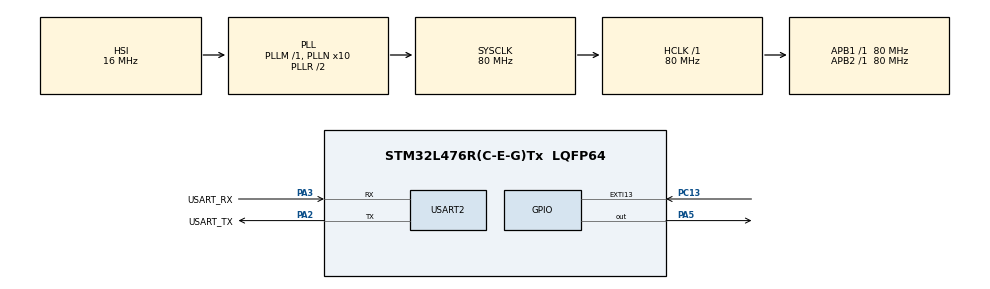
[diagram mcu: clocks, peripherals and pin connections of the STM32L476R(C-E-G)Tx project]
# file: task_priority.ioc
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FREERTOS.Tasks01=defaultTask,0,128,StartDefaultTask,Default,NULL,Dynamic,NULL,NULL
Mcu.Family=STM32L4
Mcu.Name=STM32L476R(C-E-G)Tx
Mcu.Package=LQFP64
NVIC.EXTI15_10_IRQn=true\:5\:0\:false\:false\:true\:true\:true\:true\:true
NVIC.PriorityGroup=NVIC_PRIORITYGROUP_4
PA13\ (JTMS-SWDIO).GPIO_Label=TMS
PA13\ (JTMS-SWDIO).Mode=Serial_Wire
PA13\ (JTMS-SWDIO).Signal=SYS_JTMS-SWDIO
PA14\ (JTCK-SWCLK).GPIO_Label=TCK
PA14\ (JTCK-SWCLK).Mode=Serial_Wire
PA14\ (JTCK-SWCLK).Signal=SYS_JTCK-SWCLK
PA2.GPIO_Label=USART_TX
PA2.GPIO_Mode=GPIO_MODE_AF_PP
PA2.GPIO_PuPd=GPIO_NOPULL
PA2.GPIO_Speed=GPIO_SPEED_FREQ_VERY_HIGH
PA2.Mode=Asynchronous
PA2.Signal=USART2_TX
PA3.GPIO_Label=USART_RX
PA3.GPIO_Mode=GPIO_MODE_AF_PP
PA3.GPIO_PuPd=GPIO_NOPULL
PA3.GPIO_Speed=GPIO_SPEED_FREQ_VERY_HIGH
PA3.Mode=Asynchronous
PA3.Signal=USART2_RX
PA5.Signal=GPIO_Output
PB3\ (JTDO-TRACESWO).GPIO_Label=SWO
PB3\ (JTDO-TRACESWO).Signal=SYS_JTDO-SWO
PC13.Signal=GPXTI13
PC14-OSC32_IN\ (PC14).Mode=LSE-External-Oscillator
PC14-OSC32_IN\ (PC14).Signal=RCC_OSC32_IN
PC15-OSC32_OUT\ (PC15).Mode=LSE-External-Oscillator
PC15-OSC32_OUT\ (PC15).Signal=RCC_OSC32_OUT
PH0-OSC_IN\ (PH0).Signal=RCC_OSC_IN
PH1-OSC_OUT\ (PH1).Signal=RCC_OSC_OUT
ProjectManager.HeapSize=0x200
ProjectManager.StackSize=0x400
ProjectManager.TargetToolchain=STM32CubeIDE
RCC.ADCFreq_Value=64000000
RCC.AHBFreq_Value=80000000
RCC.APB1Freq_Value=80000000
RCC.APB1TimFreq_Value=80000000
RCC.APB2Freq_Value=80000000
RCC.APB2TimFreq_Value=80000000
RCC.CortexFreq_Value=80000000
RCC.HCLKFreq_Value=80000000
RCC.HSE_VALUE=8000000
RCC.HSI_VALUE=16000000
RCC.MSI_VALUE=4000000
RCC.PLLN=10
RCC.PLLSourceVirtual=RCC_PLLSOURCE_HSI
RCC.PREFETCH_ENABLE=1
RCC.SYSCLKFreq_VALUE=80000000
RCC.SYSCLKSource=RCC_SYSCLKSOURCE_PLLCLK
RCC.USBFreq_Value=64000000
RCC.VCOOutputFreq_Value=160000000
USART2.VirtualMode-Asynchronous=VM_ASYNC
VP_FREERTOS_VS_CMSIS_V1.Mode=CMSIS_V1
board=NUCLEO-L476RG

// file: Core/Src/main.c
/* USER CODE BEGIN Header */
/**
  ******************************************************************************
  * @file           : main.c
  * @brief          : Main program body
  ******************************************************************************
  * @attention
  *
  * Copyright (c) 2025 STMicroelectronics.
  * All rights reserved.
  *
  * This software is licensed under terms that can be found in the LICENSE file
  * in the root directory of this software component.
  * If no LICENSE file comes with this software, it is provided AS-IS.
  *
  ******************************************************************************
  */
/* USER CODE END Header */
#include "main.h"
#include "cmsis_os.h"

/* USER CODE BEGIN Includes */
#include<string.h>
#include<stdio.h>
/* USER CODE END Includes */

/* USER CODE BEGIN PD */
//macros to indicate about switch status
#define FALSE	0
#define TRUE	1
/* USER CODE END PD */

UART_HandleTypeDef huart2; //handle for USART2 configuration

osThreadId defaultTaskHandle;//default task handle
/* USER CODE BEGIN PV */
TaskHandle_t xTaskHandle1=NULL;  // handle for task1
TaskHandle_t xTaskHandle2=NULL; //handle for task2
uint8_t priority_switch = FALSE; // variable to track switch status
char msg[50]; //buffer to store content for formatting and trnsmit via uart
/* USER CODE END PV */

void SystemClock_Config(void);
static void MX_GPIO_Init(void);
static void MX_USART2_UART_Init(void);
void StartDefaultTask(void const * argument);

/* USER CODE BEGIN 0 */
// Interrupt handler for external pin (e.g., button on pin 13)
void EXTI15_10_IRQHandler(void)
{
  /* USER CODE BEGIN EXTI15_10_IRQn 0 */

  /* USER CODE END EXTI15_10_IRQn 0 */
  HAL_GPIO_EXTI_IRQHandler(GPIO_PIN_13);// Handle EXTI interrupt for pin 13
  priority_switch = TRUE; // Set flag to change priorities
  /* USER CODE BEGIN EXTI15_10_IRQn 1 */

  /* USER CODE END EXTI15_10_IRQn 1 */
}
// Send a string message via UART2
void uart_msg(char *s)
{
	HAL_UART_Transmit(&huart2, (uint8_t*)s, strlen(s), 1000); // Send string
}

// Simple delay function using RTOS tick count
void rtos_delay(uint32_t delay_in_ms)
{
	uint32_t tick_count_local=0;

	// Convert milliseconds to ticks
	uint32_t delay_in_ticks = ( delay_in_ms  * configTICK_RATE_HZ ) / 1000;

	tick_count_local = xTaskGetTickCount(); // Get current tick
	while ( xTaskGetTickCount() < (tick_count_local+delay_in_ticks )); // Wait
}

// -------- TASK-1 CODE --------
void task1(void  * p)
{
	UBaseType_t p1,p2; // To store priority values

	uart_msg("TASK-1 RUNNING\r\n");
	sprintf(msg,"TASK-1 priority value %ld\r\n",uxTaskPriorityGet(xTaskHandle1));
	uart_msg(msg);
	sprintf(msg,"TASK-2 priority value %ld\r\n",uxTaskPriorityGet(xTaskHandle2));
	uart_msg(msg);

	while(1)
	{
		if(priority_switch)  // If button pressed
		{
			priority_switch = FALSE;
			uart_msg("priority_swicth by task-1\r\n");

			// Get priorities of both tasks
			p1=uxTaskPriorityGet(xTaskHandle1);
			p2=uxTaskPriorityGet(xTaskHandle2);

			// Swap priorities of task1 and task2
			vTaskPrioritySet(xTaskHandle1, p2);
			vTaskPrioritySet(xTaskHandle2, p1);
		}
		else
		{
			HAL_GPIO_TogglePin(GPIOA, GPIO_PIN_5); // Toggle LED
			rtos_delay(200);                       // Small delay
		}
	}
}

// -------- TASK-2 CODE --------
void task2(void  * p)
{
	UBaseType_t p1,p2; // To store priority values

	uart_msg("TASK-2 RUNNING\r\n");
	sprintf(msg,"TASK-1 priority value %ld\r\n",uxTaskPriorityGet(xTaskHandle1));
	uart_msg(msg);
	sprintf(msg,"TASK-2 priority value %ld\r\n",uxTaskPriorityGet(xTaskHandle2));
	uart_msg(msg);

	while(1)
	{
		if(priority_switch) // If button pressed
		{
			priority_switch = FALSE;
			uart_msg("priority_swicth by task-2\r\n");

			// Get priorities of both tasks
			p1=uxTaskPriorityGet(xTaskHandle1);
			p2=uxTaskPriorityGet(xTaskHandle2);

			// Swap priorities of task1 and task2
			vTaskPrioritySet(xTaskHandle1, p2);
			vTaskPrioritySet(xTaskHandle2, p1);
		}
		else
		{
			HAL_GPIO_TogglePin(GPIOA, GPIO_PIN_5); // Toggle LED
			rtos_delay(1000);                      // Bigger delay
		}
	}
}
/* USER CODE END 0 */

int main(void)
{

  /* MCU Configuration--------------------------------------------------------*/

  /* Reset of all peripherals, Initializes the Flash interface and the Systick. */
  HAL_Init();

  /* Configure the system clock */
  SystemClock_Config();

  /* Initialize all configured peripherals */
  MX_GPIO_Init();
  MX_USART2_UART_Init();

  /* Create the thread(s) */
  /* definition and creation of defaultTask */
  osThreadDef(defaultTask, StartDefaultTask, osPriorityNormal, 0, 128);
  defaultTaskHandle = osThreadCreate(osThread(defaultTask), NULL);

  /* USER CODE BEGIN RTOS_THREADS */
  xTaskCreate(task1, "TASK1", configMINIMAL_STACK_SIZE, NULL, 1, &xTaskHandle1);//task 1 created with priority 1
  xTaskCreate(task2, "TASK2", configMINIMAL_STACK_SIZE, NULL, 2, &xTaskHandle2);//task2 created with priority 2
  /* USER CODE END RTOS_THREADS */

  /* Start scheduler */
  osKernelStart();

  /* We should never get here as control is now taken by the scheduler */

  /* Infinite loop */
  while (1)
  {

  }
}

void SystemClock_Config(void)
{
  RCC_OscInitTypeDef RCC_OscInitStruct = {0};
  RCC_ClkInitTypeDef RCC_ClkInitStruct = {0};

  /** Configure the main internal regulator output voltage
  */
  if (HAL_PWREx_ControlVoltageScaling(PWR_REGULATOR_VOLTAGE_SCALE1) != HAL_OK)
  {
    Error_Handler();
  }

  /** Initializes the RCC Oscillators according to the specified parameters
  * in the RCC_OscInitTypeDef structure.
  */
  RCC_OscInitStruct.OscillatorType = RCC_OSCILLATORTYPE_HSI;
  RCC_OscInitStruct.HSIState = RCC_HSI_ON;
  RCC_OscInitStruct.HSICalibrationValue = RCC_HSICALIBRATION_DEFAULT;
  RCC_OscInitStruct.PLL.PLLState = RCC_PLL_ON;
  RCC_OscInitStruct.PLL.PLLSource = RCC_PLLSOURCE_HSI;
  RCC_OscInitStruct.PLL.PLLM = 1;
  RCC_OscInitStruct.PLL.PLLN = 10;
  RCC_OscInitStruct.PLL.PLLP = RCC_PLLP_DIV7;
  RCC_OscInitStruct.PLL.PLLQ = RCC_PLLQ_DIV2;
  RCC_OscInitStruct.PLL.PLLR = RCC_PLLR_DIV2;
  if (HAL_RCC_OscConfig(&RCC_OscInitStruct) != HAL_OK)
  {
    Error_Handler();
  }

  /** Initializes the CPU, AHB and APB buses clocks
  */
  RCC_ClkInitStruct.ClockType = RCC_CLOCKTYPE_HCLK|RCC_CLOCKTYPE_SYSCLK
                              |RCC_CLOCKTYPE_PCLK1|RCC_CLOCKTYPE_PCLK2;
  RCC_ClkInitStruct.SYSCLKSource = RCC_SYSCLKSOURCE_PLLCLK;
  RCC_ClkInitStruct.AHBCLKDivider = RCC_SYSCLK_DIV1;
  RCC_ClkInitStruct.APB1CLKDivider = RCC_HCLK_DIV1;
  RCC_ClkInitStruct.APB2CLKDivider = RCC_HCLK_DIV1;

  if (HAL_RCC_ClockConfig(&RCC_ClkInitStruct, FLASH_LATENCY_4) != HAL_OK)
  {
    Error_Handler();
  }
}

static void MX_USART2_UART_Init(void)
{

  huart2.Instance = USART2;
  huart2.Init.BaudRate = 115200;
  huart2.Init.WordLength = UART_WORDLENGTH_8B;
  huart2.Init.StopBits = UART_STOPBITS_1;
  huart2.Init.Parity = UART_PARITY_NONE;
  huart2.Init.Mode = UART_MODE_TX_RX;
  huart2.Init.HwFlowCtl = UART_HWCONTROL_NONE;
  huart2.Init.OverSampling = UART_OVERSAMPLING_16;
  huart2.Init.OneBitSampling = UART_ONE_BIT_SAMPLE_DISABLE;
  huart2.AdvancedInit.AdvFeatureInit = UART_ADVFEATURE_NO_INIT;
  if (HAL_UART_Init(&huart2) != HAL_OK)
  {
    Error_Handler();
  }

}

static void MX_GPIO_Init(void)
{
  GPIO_InitTypeDef GPIO_InitStruct = {0};

  /* GPIO Ports Clock Enable */
  __HAL_RCC_GPIOC_CLK_ENABLE();
  __HAL_RCC_GPIOH_CLK_ENABLE();
  __HAL_RCC_GPIOA_CLK_ENABLE();
  __HAL_RCC_GPIOB_CLK_ENABLE();

  /*Configure GPIO pin Output Level */
  HAL_GPIO_WritePin(GPIOA, GPIO_PIN_5, GPIO_PIN_RESET);

  /*Configure GPIO pin : PC13 */
  GPIO_InitStruct.Pin = GPIO_PIN_13;
  GPIO_InitStruct.Mode = GPIO_MODE_IT_RISING;
  GPIO_InitStruct.Pull = GPIO_NOPULL;
  HAL_GPIO_Init(GPIOC, &GPIO_InitStruct);

  /*Configure GPIO pin : PA5 */
  GPIO_InitStruct.Pin = GPIO_PIN_5;
  GPIO_InitStruct.Mode = GPIO_MODE_OUTPUT_PP;
  GPIO_InitStruct.Pull = GPIO_NOPULL;
  GPIO_InitStruct.Speed = GPIO_SPEED_FREQ_LOW;
  HAL_GPIO_Init(GPIOA, &GPIO_InitStruct);

  /* EXTI interrupt init*/
  HAL_NVIC_SetPriority(EXTI15_10_IRQn, 5, 0);
  HAL_NVIC_EnableIRQ(EXTI15_10_IRQn);

}

void StartDefaultTask(void const * argument)
{
  for(;;)
  {
    osDelay(1);
  }
}

void Error_Handler(void)
{
  __disable_irq();
  while (1)
  {
  }
}
